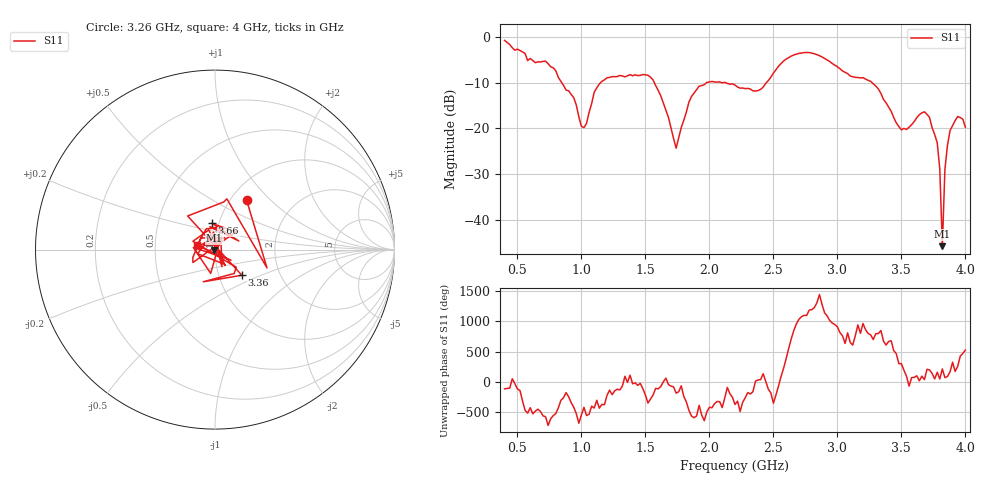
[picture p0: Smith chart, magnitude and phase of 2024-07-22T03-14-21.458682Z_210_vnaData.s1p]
!Created with skrf (http://scikit-rf.org).
# Hz S RI R 50.0
!freq ReS11 ImS11
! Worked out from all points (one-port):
!   181 points, 400 MHz to 4 GHz, reference 50 ohm
!   lowest |S11| = -45.8 dB at 3.82 GHz (marker M1), VSWR 1.01, Z = 49.6 - j0.298 ohm
!   |S11| at or under -10 dB: 1.57 GHz to 1.978 GHz (408 MHz wide, 23 % of centre); 2.126 GHz to 2.445 GHz (319 MHz wide, 14 % of centre); 3.271 GHz to end of sweep (the widest 3 of 5)
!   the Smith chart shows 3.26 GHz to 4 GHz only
!   S11 on the Smith chart (normalised r, x): 3.26 GHz: 1.18, +0.73; 3.36 GHz: 1.29, -0.38; 3.66 GHz: 0.93, +0.28; 4 GHz: 0.82, +0.04
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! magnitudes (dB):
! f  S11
! 400 MHz  -0.8
! 720 MHz  -5.3
! 860 MHz  -10.6
! 1.02 GHz  -19.8
! 1.14 GHz  -10.3
! 1.3 GHz  -8.4
! 1.54 GHz  -8.8
! 1.66 GHz  -15.9
! 1.74 GHz  -24.3
! 1.76 GHz  -22.1
! 1.92 GHz  -10.8
! 2.2 GHz  -10.5
! 2.4 GHz  -11.5
! 2.66 GHz  -3.9
! 3.1 GHz  -8.6
! 3.26 GHz  -9.7
! 3.36 GHz  -13.7
! 3.5 GHz  -20.3
! 3.56 GHz  -19.8
! 3.66 GHz  -16.6
! 3.72 GHz  -17.6
! 3.78 GHz  -23.2
! 3.8 GHz  -28.9
! 3.82 GHz  -45.8
! 3.84 GHz  -29.0
! 3.88 GHz  -20.5
! 3.94 GHz  -17.4
! 4 GHz  -19.8
